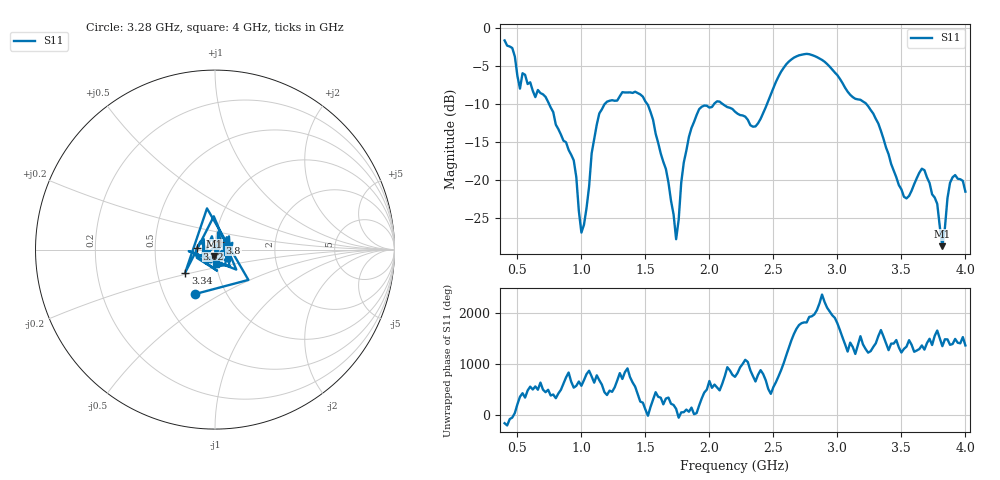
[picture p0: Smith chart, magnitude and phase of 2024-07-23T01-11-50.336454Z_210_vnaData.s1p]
!Created with skrf (http://scikit-rf.org).
# Hz S RI R 50.0
!freq ReS11 ImS11
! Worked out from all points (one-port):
!   181 points, 400 MHz to 4 GHz, reference 50 ohm
!   lowest |S11| = -28.8 dB at 3.82 GHz (marker M1), VSWR 1.08, Z = 49.3 - j3.56 ohm
!   |S11| at or under -10 dB: 746.3 MHz to 1.185 GHz (438.5 MHz wide, 45.4 % of centre); 1.512 GHz to 2.038 GHz (526 MHz wide, 29.6 % of centre); 3.224 GHz to end of sweep (the widest 3 of 4)
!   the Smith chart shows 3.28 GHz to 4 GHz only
!   S11 on the Smith chart (normalised r, x): 3.28 GHz: 0.71, -0.38; 3.34 GHz: 0.70, -0.19; 3.62 GHz: 0.81, +0.01; 3.8 GHz: 1.06, +0.08; 4 GHz: 1.00, -0.17
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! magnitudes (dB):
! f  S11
! 400 MHz  -1.7
! 460 MHz  -2.7
! 520 MHz  -8.0
! 720 MHz  -9.1
! 860 MHz  -14.9
! 940 MHz  -17.5
! 1 GHz  -27.0
! 1.14 GHz  -11.3
! 1.3 GHz  -9.0
! 1.52 GHz  -10.2
! 1.66 GHz  -18.6
! 1.74 GHz  -27.9
! 1.76 GHz  -25.3
! 1.8 GHz  -17.7
! 1.92 GHz  -10.7
! 2.2 GHz  -11.1
! 2.36 GHz  -13.0
! 2.66 GHz  -3.9
! 3.1 GHz  -8.8
! 3.28 GHz  -11.3
! 3.34 GHz  -13.6
! 3.56 GHz  -22.2
! 3.62 GHz  -19.8
! 3.68 GHz  -18.8
! 3.8 GHz  -26.2
! 3.82 GHz  -28.8
! 3.88 GHz  -20.4
! 4 GHz  -21.6
